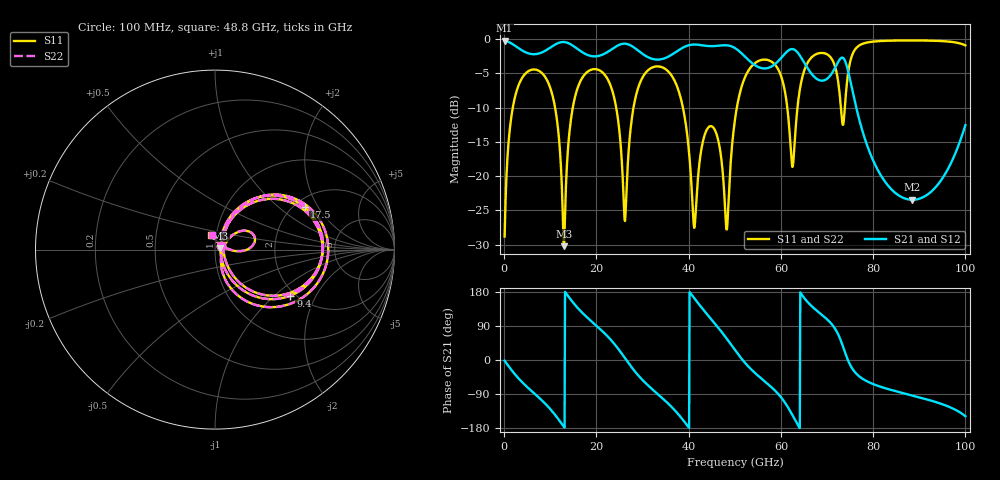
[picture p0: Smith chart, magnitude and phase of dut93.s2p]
! Touchstone file exported from HFSS 2026.1.0
!  File:  C:/ffzhzh/LocalFiles/Ansys_Project_Files/temp_train_TSV_RDL_93_1783454112_7600.aedt
!  Generated:  04:18:28 AM Jul  8, 2026
!  Design:  TSV_RDL
!  Project:  temp_train_TSV_RDL_93_1783454112_7600
! Variables:
!  h_bsmrdl = 3.43um
!  h_ox = 20um
!  h_rdl = 5um
!  h_sub = 94.11um
!  h_tmrdl = 2.61um
!  h_tsv = 94.11um
!  h_via = 3um
!  l_bsmrdl = 671.6um
!  l_sub = 4271.99um
!  l_tmrdl = 442.06um
!  m_sub = 200um
!  pitch = 50.72um
!  r_tsv = 11.36um
!  s_tmrdl = 10um
!  w_bsmrdl = 13.51um
!  w_sub = 500um
!  w_tmrdl = 16.14um
!  x_tsv_center1 = 450.13um
!  x_tsv_center2 = 1135.24um
!  x_tsv_center3 = 1593.44um
!  x_tsv_center4 = 2278.55um
!  x_tsv_center5 = 2736.75um
!  x_tsv_center6 = 3421.86um
# GHz S MA R 50.000000
! Terminal data exported
! Port[1] = TM_RDL1_1_T1
! Port[2] = TM_RDL5_1_T1
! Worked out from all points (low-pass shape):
!   1000 points, 100 MHz to 100 GHz, reference 50 ohm
!   highest |S21| = -0.27 dB at 100 MHz (marker M1); lowest = -23.5 dB at 88.5 GHz (marker M2)
!   |S21| within 3 dB of the highest: start of sweep to 53.31 GHz; 59.37 GHz to 64.89 GHz (5.522 GHz wide, 8.89 % of centre)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
!   lowest |S11| = -30.2 dB at 13 GHz (marker M3), VSWR 1.06, Z = 53 + j0.97 ohm
!   |S11| at or under -10 dB: 11.04 GHz to 14.88 GHz (3.845 GHz wide, 29.7 % of centre); 24.29 GHz to 28.05 GHz (3.756 GHz wide, 14.4 % of centre); 38.75 GHz to 50.45 GHz (11.7 GHz wide, 26.2 % of centre)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
!   |S22| runs from -30.3 to -0.2 dB; largest |S21 - S12| = 7.5e-13
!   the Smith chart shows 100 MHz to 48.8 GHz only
!   S11 on the Smith chart (normalised r, x): 100 MHz: 1.06, +0.04; 9.4 GHz: 1.89, -1.28; 17.5 GHz: 2.27, +1.54; 48.8 GHz: 0.95, +0.16
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0.1  0.0362 30.6  0.9692 -1.8  0.9692 -1.8  0.0362 30.6
! Gamma 0 0 0 0
! Port Impedance 50 0 50 0
2.8  0.4274 41.5  0.8714 -44.2  0.8714 -44.2  0.4274 41.5
9.4  0.4924 -31.4  0.8388 -121.5  0.8388 -121.5  0.4924 -31.4
13  0.03081 17.2  0.9495 -176.9  0.9495 -176.9  0.03071 17.3
16.8  0.5111 33.1  0.8054 126.3  0.8054 126.3  0.5112 33.1
17.5  0.5525 25.4  0.7803 117.9  0.7803 117.9  0.5525 25.4
23.3  0.4347 -36.1  0.8397 50.9  0.8397 50.9  0.4348 -36.1
26.2  0.047 8.8  0.9232 4.9  0.9232 4.9  0.04684 8.7
28.7  0.4006 48.3  0.8397 -35.3  0.8397 -35.3  0.4005 48.3
33.4  0.6307 -1.6  0.707 -90.9  0.707 -90.9  0.6306 -1.6
38.3  0.3682 -55.2  0.847 -151.1  0.847 -151.1  0.368 -55.3
40.8  0.06572 -59.1  0.9092 169.7  0.9092 169.7  0.06489 -59.8
44.6  0.2307 19.7  0.8867 112.1  0.8867 112.1  0.2307 20.1
48.8  0.08444 104.0  0.8931 47.1  0.8931 47.1  0.08513 103.2
50.1  0.2665 103.3  0.8555 25.2  0.8555 25.2  0.2667 103.0
60.5  0.4746 -6.6  0.7563 -105.8  0.7563 -105.8  0.4745 -6.7
62.5  0.1165 30.0  0.8436 -145.5  0.8436 -145.5  0.1156 29.9
66.7  0.7365 47.3  0.5539 141.7  0.5539 141.7  0.7364 47.3
73.9  0.3279 60.8  0.693 19.9  0.693 19.9  0.3294 60.6
83.4  0.9708 9.8  0.08389 -77.3  0.08389 -77.3  0.9707 9.8
88.5  0.9749 -4.0  0.06714 -93.7  0.06714 -93.7  0.9748 -4.0
100  0.8971 -49.3  0.2353 -148.4  0.2353 -148.4  0.8971 -49.3
